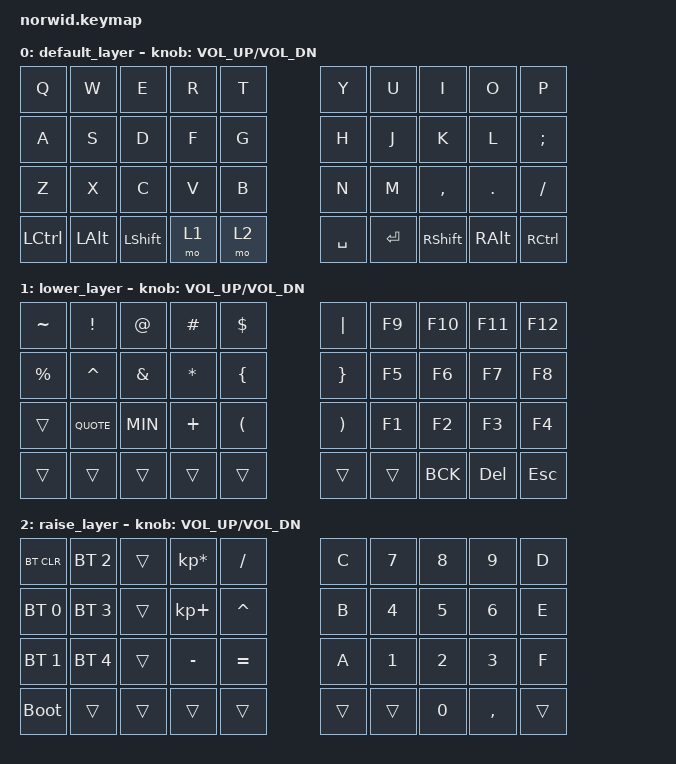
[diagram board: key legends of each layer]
#include <behaviors.dtsi>
#include <dt-bindings/zmk/keys.h>
#include <dt-bindings/zmk/bt.h>
#include <dt-bindings/zmk/ext_power.h>

/ {
    keymap {
        compatible = "zmk,keymap";

        default_layer {
// --------------------------------------------------------------------------------------------
// |  Q  |  W  |  E   |  R   |  T   |                   |  Y   |  U    |  I    |  O   |   P   |
// |  A  |  S  |  D   |  F   |  G   |                   |  H   |  J    |  K    |  L   |   ; : |
// |  Z  |  X  |  C   |  V   |  B   |                   |  N   |  M    |  , <  |  . > |   / ? |
// |CTRL | ALT |LSHIFT| LOWER|RAISE |                   | SPACE| ENTER | RSHIFT| RALT | RCTRL |
            bindings = <
&kp Q  &kp W     &kp E    &kp R    &kp T               &kp Y  &kp U    &kp I     &kp O    &kp P    
&kp A  &kp S     &kp D    &kp F    &kp G               &kp H  &kp J    &kp K     &kp L    &kp SEMI 
&kp Z  &kp X     &kp C    &kp V    &kp B               &kp N  &kp M    &kp COMMA &kp DOT  &kp FSLH 
&kp LCTRL &kp LALT &kp LSHFT &mo 1 &mo 2            &kp SPACE &kp RET  &kp RSHFT &kp RALT &kp RCTRL
            >;

            sensor-bindings = <&inc_dec_kp C_VOL_UP C_VOL_DN>;
        };

        lower_layer {
// --------------------------------------------------------------------------------------------
// |  ~` |  !  |  @'  |  #   |  $   |                   |  \|  |  F9   |  F10  |  F11 |  F12  |
// |  %  |  ^  |  &   |  *   |  (<  |                   |  )>  |  F5   |  F6   |  F7  |  F8   |
// |     |  "' |  -_  |  +=  |  [{  |                   |  ]}  |  F1   |  F2   |  F3  |  F4   |
// |     |     |      |      |      |                   |      |       |  BCK  |  DEL |  ESC  |
            bindings = <
&kp TILDE  &kp EXCL   &kp AT    &kp HASH  &kp DOLLAR    &kp PIPE  &kp F9  &kp F10 &kp F11 &kp F12
&kp PRCNT  &kp CARET  &kp AMPS  &kp STAR  &kp LBRC      &kp RBRC  &kp F5  &kp F6  &kp F7  &kp F8
&trans     &kp QUOTE  &kp MIN   &kp PLUS  &kp LPAR      &kp RPAR  &kp F1  &kp F2  &kp F3  &kp F4
&trans     &trans     &trans    &trans    &trans        &trans    &trans  &kp BCK &kp DEL &kp ESC
            >;

            sensor-bindings = <&inc_dec_kp C_VOL_UP C_VOL_DN>;
        };

        raise_layer {
// --------------------------------------------------------------------------------------------
// |BT CL|BT 2 |      |  *   |  /   |                   |  C   |   7   |   8   |  9   |   D   |
// |BT 0 |BT 3 |      |  +   |  ^   |                   |  B   |   4   |   5   |  6   |   E   |
// |BT 1 |BT 4 |      |  -   |  =   |                   |  A   |   1   |   2   |  3   |   F   |
// |BOOTL|      |      |      |                   |      |       |   0   |  ,.  |       |
            bindings = <
&bt BT_CLR    &bt BT_SEL 2  &trans &kp KP_MULTIPLY  &kp FSLH               &kp C  &kp N7  &kp N8  &kp N9  &kp D
&bt BT_SEL 0  &bt BT_SEL 3  &trans &kp KP_PLUS      &kp CARET              &kp B  &kp N4  &kp N5  &kp N6  &kp E
&bt BT_SEL 1  &bt BT_SEL 4  &trans &kp MINUS        &kp EQUAL              &kp A  &kp N1  &kp N2  &kp N3  &kp F
&bootloader   &trans        &trans &trans           &trans                 &trans &trans  &kp N0  &kp COMMA &trans
            >;

            sensor-bindings = <&inc_dec_kp C_VOL_UP C_VOL_DN>;
        };
    };
};
